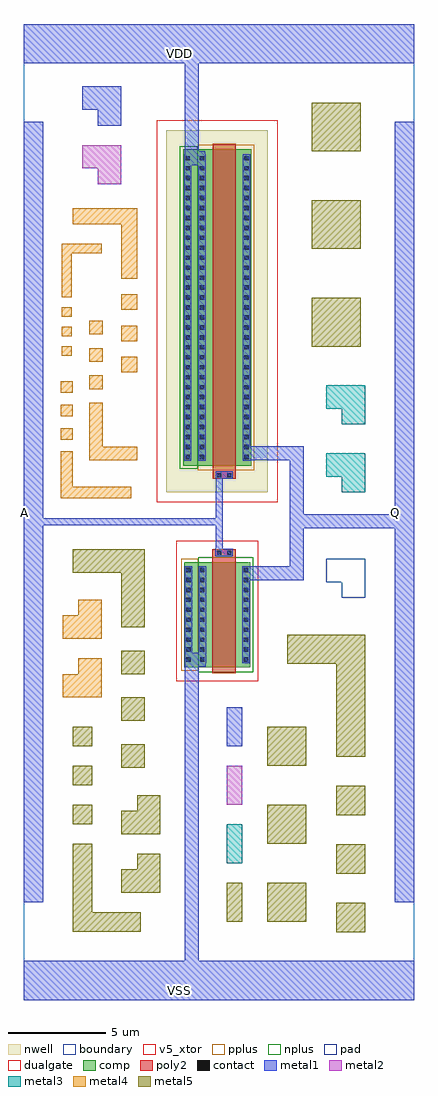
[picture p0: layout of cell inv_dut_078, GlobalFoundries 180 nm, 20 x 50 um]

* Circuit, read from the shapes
.subckt inv_dut_078 A Q VDD VSS
XM1 Q A VSS VSS nfet_05v0 w=5.4u l=1.2u
XM2 Q A VDD VDD pfet_05v0 w=16.2u l=1.2u
.ends

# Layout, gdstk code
from math import pi, radians
import gdstk
lib = gdstk.Library(unit=1e-6, precision=1e-09)
def R(c, l, rs):  # rectangles x0, y0, x1, y1
    for r in rs: c.add(gdstk.rectangle(r[:2], r[2:], *l))
def A(c, l, x, y, w, h, nx, ny, dx, dy):  # array of equal rectangles
    R(c, l, [(x+i*dx, y+j*dy, x+i*dx+w, y+j*dy+h) for i in range(nx) for j in range(ny)])
boundary = (0, 0)
nwell = (21, 0)
comp = (22, 0)
poly2 = (30, 0)
pplus = (31, 0)
nplus = (32, 0)
contact = (33, 0)
metal1 = (34, 0)
metal2 = (36, 0)
pad = (37, 0)
metal3 = (42, 0)
metal4 = (46, 0)
dualgate = (55, 0)
metal5 = (81, 0)
v5_xtor = (112, 1)

pfet = lib.new_cell('pfet')
R(pfet, nwell, [(-1.32,-0.99,3.87,17.57)])
R(pfet, comp, [(-0.46,0,3.01,16.2)])
R(pfet, poly2, [(0.31,-0.3,1.51,16.88)])
R(pfet, pplus, [(-0.63,-0.24,2.28,16.44)])
R(pfet, nplus, [(2.28,-0.17,3.18,16.37)])
A(pfet, contact, -0.34, 0.34, 0.22, 0.22, 1, 31, 0, 0.51)
A(pfet, contact, 1.94, 0.34, 0.22, 0.22, 1, 31, 0, 0.51)
A(pfet, contact, 2.67, 0.34, 0.22, 0.22, 1, 31, 0, 0.51)
R(pfet, contact, [(0.545,16.58,0.765,16.8), (1.055,16.58,1.275,16.8)])
R(pfet, metal1, [(-0.42,0.26,-0.04,15.94), (1.86,0.26,2.24,15.94), (2.59,0.26,2.97,15.94), (0.465,16.5,1.355,16.88)])
R(pfet, dualgate, [(-1.82,-1.49,4.37,18.07)])
R(pfet, v5_xtor, [(-1.82,-1.49,4.37,18.07)])

nfet = lib.new_cell('nfet')
R(nfet, comp, [(-0.42,0,2.95,5.4)])
R(nfet, poly2, [(0.31,-0.3,1.51,6.06)])
R(nfet, pplus, [(2.24,-0.17,3.12,5.57)])
R(nfet, nplus, [(-0.59,-0.24,2.24,5.64)])
A(nfet, contact, -0.32, 0.295, 0.22, 0.22, 1, 10, 0, 0.51)
A(nfet, contact, 1.92, 0.295, 0.22, 0.22, 1, 10, 0, 0.51)
A(nfet, contact, 2.63, 0.295, 0.22, 0.22, 1, 10, 0, 0.51)
R(nfet, contact, [(0.545,5.77,0.765,5.99), (1.055,5.77,1.275,5.99)])
R(nfet, metal1, [(-0.4,0.215,-0.02,5.185), (1.84,0.215,2.22,5.185), (2.55,0.215,2.93,5.185), (0.465,5.69,1.355,6.07)])
R(nfet, dualgate, [(-0.84,-0.71,3.37,6.48)])
R(nfet, v5_xtor, [(-0.84,-0.71,3.37,6.48)])

inv_dut_078 = lib.new_cell('inv_dut_078')
R(inv_dut_078, boundary, [(-10,-25,10,25)])
R(inv_dut_078, metal1, [(-10,-25,10,-23), (-10,-20,-9,20), (9,-20,10,20), (-10,23,10,25)])
inv_dut_078.add(gdstk.FlexPath([(0.8,-10),(0.8,-12)], 0.8, ends="flush", simple_path=True, layer=34, datatype=0))  # metal1
inv_dut_078.add(gdstk.FlexPath([(-7,21.2),(-5.6,21.2),(-5.6,19.8)], 1.2, ends="flush", simple_path=True, layer=34, datatype=0))  # metal1
inv_dut_078.add(gdstk.FlexPath([(-0.7,18.12),(-1.4,18.12),(-1.4,23.4)], 0.72, ends="flush", simple_path=True, layer=34, datatype=0))  # metal1
inv_dut_078.add(gdstk.FlexPath([(-0.68,-7.56),(-1.4,-7.56),(-1.4,-23.56)], 0.72, ends="flush", simple_path=True, layer=34, datatype=0))  # metal1
inv_dut_078.add(gdstk.FlexPath([(1.22,3),(3.985,3),(3.985,-3.14),(1.21,-3.14)], 0.72, ends="flush", simple_path=True, layer=34, datatype=0))  # metal1
inv_dut_078.add(gdstk.FlexPath([(4,-0.48),(9.455,-0.48)], 0.72, ends="flush", simple_path=True, layer=34, datatype=0))  # metal1
inv_dut_078.add(gdstk.FlexPath([(0.7,1.885),(0.015,1.885),(0.015,-2.09),(0.7,-2.09)], 0.36, ends="flush", simple_path=True, layer=34, datatype=0))  # metal1
inv_dut_078.add(gdstk.FlexPath([(0.015,-0.495),(-9.305,-0.495)], 0.36, ends="flush", simple_path=True, layer=34, datatype=0))  # metal1
inv_dut_078.add(gdstk.FlexPath([(-7,18.2),(-5.6,18.2),(-5.6,16.8)], 1.2, ends="flush", simple_path=True, layer=36, datatype=0))  # metal2
inv_dut_078.add(gdstk.FlexPath([(0.8,-13),(0.8,-15)], 0.8, ends="flush", simple_path=True, layer=36, datatype=0))  # metal2
inv_dut_078.add(gdstk.FlexPath([(5.5,2.4),(6.9,2.4),(6.9,1)], 1.2, ends="flush", simple_path=True, layer=42, datatype=0))  # metal3
inv_dut_078.add(gdstk.FlexPath([(0.8,-16),(0.8,-18)], 0.8, ends="flush", simple_path=True, layer=42, datatype=0))  # metal3
inv_dut_078.add(gdstk.FlexPath([(5.5,5.9),(6.9,5.9),(6.9,4.5)], 1.2, ends="flush", simple_path=True, layer=42, datatype=0))  # metal3
inv_dut_078.add(gdstk.FlexPath([(-8,-5.9),(-6.6,-5.9),(-6.6,-4.5)], 1.2, ends="flush", simple_path=True, layer=46, datatype=0))  # metal4
inv_dut_078.add(gdstk.FlexPath([(-4.6,11.95),(-4.6,15.15),(-7.5,15.15)], 0.8, ends="flush", simple_path=True, layer=46, datatype=0))  # metal4
inv_dut_078.add(gdstk.FlexPath([(-4.6,10.35),(-4.6,11.15)], 0.8, ends="flush", simple_path=True, layer=46, datatype=0))  # metal4
inv_dut_078.add(gdstk.FlexPath([(-4.6,8.75),(-4.6,9.55)], 0.8, ends="flush", simple_path=True, layer=46, datatype=0))  # metal4
inv_dut_078.add(gdstk.FlexPath([(-4.6,7.15),(-4.6,7.95)], 0.8, ends="flush", simple_path=True, layer=46, datatype=0))  # metal4
inv_dut_078.add(gdstk.FlexPath([(-8,-8.9),(-6.6,-8.9),(-6.6,-7.5)], 1.2, ends="flush", simple_path=True, layer=46, datatype=0))  # metal4
inv_dut_078.add(gdstk.FlexPath([(-7.8,11),(-7.8,13.5),(-6,13.5)], 0.5, ends="flush", simple_path=True, layer=46, datatype=0))  # metal4
inv_dut_078.add(gdstk.FlexPath([(-7.8,10),(-7.8,10.5)], 0.5, ends="flush", simple_path=True, layer=46, datatype=0))  # metal4
inv_dut_078.add(gdstk.FlexPath([(-7.8,9),(-7.8,9.5)], 0.5, ends="flush", simple_path=True, layer=46, datatype=0))  # metal4
inv_dut_078.add(gdstk.FlexPath([(-7.8,8),(-7.8,8.5)], 0.5, ends="flush", simple_path=True, layer=46, datatype=0))  # metal4
inv_dut_078.add(gdstk.FlexPath([(-7.8,6.1),(-7.8,6.7)], 0.6, ends="flush", simple_path=True, layer=46, datatype=0))  # metal4
inv_dut_078.add(gdstk.FlexPath([(-7.8,4.9),(-7.8,5.5)], 0.6, ends="flush", simple_path=True, layer=46, datatype=0))  # metal4
inv_dut_078.add(gdstk.FlexPath([(-7.8,3.7),(-7.8,4.3)], 0.6, ends="flush", simple_path=True, layer=46, datatype=0))  # metal4
inv_dut_078.add(gdstk.FlexPath([(-4.5,1),(-7.8,1),(-7.8,3.1)], 0.6, ends="flush", simple_path=True, layer=46, datatype=0))  # metal4
inv_dut_078.add(gdstk.FlexPath([(-6.3,9.1),(-6.3,9.8)], 0.7, ends="flush", simple_path=True, layer=46, datatype=0))  # metal4
inv_dut_078.add(gdstk.FlexPath([(-6.3,7.7),(-6.3,8.4)], 0.7, ends="flush", simple_path=True, layer=46, datatype=0))  # metal4
inv_dut_078.add(gdstk.FlexPath([(-6.3,6.3),(-6.3,7)], 0.7, ends="flush", simple_path=True, layer=46, datatype=0))  # metal4
inv_dut_078.add(gdstk.FlexPath([(-4.2,3),(-6.3,3),(-6.3,5.6)], 0.7, ends="flush", simple_path=True, layer=46, datatype=0))  # metal4
inv_dut_078.add(gdstk.FlexPath([(-5,-15.9),(-3.6,-15.9),(-3.6,-14.5)], 1.2, ends="flush", simple_path=True, layer=81, datatype=0))  # metal5
inv_dut_078.add(gdstk.FlexPath([(3.47,-11),(3.47,-13)], 2, ends="flush", simple_path=True, layer=81, datatype=0))  # metal5
inv_dut_078.add(gdstk.FlexPath([(3.47,-15),(3.47,-17)], 2, ends="flush", simple_path=True, layer=81, datatype=0))  # metal5
inv_dut_078.add(gdstk.FlexPath([(3.47,-19),(3.47,-21)], 2, ends="flush", simple_path=True, layer=81, datatype=0))  # metal5
inv_dut_078.add(gdstk.FlexPath([(0.8,-19),(0.8,-21)], 0.8, ends="flush", simple_path=True, layer=81, datatype=0))  # metal5
inv_dut_078.add(gdstk.FlexPath([(3.5,-7.03),(6.75,-7.03),(6.75,-12.53)], 1.5, ends="flush", simple_path=True, layer=81, datatype=0))  # metal5
inv_dut_078.add(gdstk.FlexPath([(-7.5,-2.5),(-4.4,-2.5),(-4.4,-5.9)], 1.2, ends="flush", simple_path=True, layer=81, datatype=0))  # metal5
inv_dut_078.add(gdstk.FlexPath([(-4.4,-7.1),(-4.4,-8.3)], 1.2, ends="flush", simple_path=True, layer=81, datatype=0))  # metal5
inv_dut_078.add(gdstk.FlexPath([(-4.4,-9.5),(-4.4,-10.7)], 1.2, ends="flush", simple_path=True, layer=81, datatype=0))  # metal5
inv_dut_078.add(gdstk.FlexPath([(-4.4,-11.9),(-4.4,-13.1)], 1.2, ends="flush", simple_path=True, layer=81, datatype=0))  # metal5
inv_dut_078.add(gdstk.FlexPath([(6.75,-14.03),(6.75,-15.53)], 1.5, ends="flush", simple_path=True, layer=81, datatype=0))  # metal5
inv_dut_078.add(gdstk.FlexPath([(6.75,-17.03),(6.75,-18.53)], 1.5, ends="flush", simple_path=True, layer=81, datatype=0))  # metal5
inv_dut_078.add(gdstk.FlexPath([(6.75,-20.03),(6.75,-21.53)], 1.5, ends="flush", simple_path=True, layer=81, datatype=0))  # metal5
inv_dut_078.add(gdstk.FlexPath([(-7,-11),(-7,-12)], 1, ends="flush", simple_path=True, layer=81, datatype=0))  # metal5
inv_dut_078.add(gdstk.FlexPath([(-7,-13),(-7,-14)], 1, ends="flush", simple_path=True, layer=81, datatype=0))  # metal5
inv_dut_078.add(gdstk.FlexPath([(-7,-15),(-7,-16)], 1, ends="flush", simple_path=True, layer=81, datatype=0))  # metal5
inv_dut_078.add(gdstk.FlexPath([(-7,-17),(-7,-21),(-4,-21)], 1, ends="flush", simple_path=True, layer=81, datatype=0))  # metal5
inv_dut_078.add(gdstk.FlexPath([(-5,-18.9),(-3.6,-18.9),(-3.6,-17.5)], 1.2, ends="flush", simple_path=True, layer=81, datatype=0))  # metal5
inv_dut_078.add(gdstk.FlexPath([(6,20.975),(6,18.475)], 2.5, ends="flush", simple_path=True, layer=81, datatype=0))  # metal5
inv_dut_078.add(gdstk.FlexPath([(6,10.975),(6,8.475)], 2.5, ends="flush", simple_path=True, layer=81, datatype=0))  # metal5
inv_dut_078.add(gdstk.FlexPath([(6,15.975),(6,13.475)], 2.5, ends="flush", simple_path=True, layer=81, datatype=0))  # metal5
inv_dut_078.add(gdstk.FlexPath([(-7,-11),(-7,-12)], 1, ends="flush", simple_path=True, layer=37, datatype=0))  # pad
inv_dut_078.add(gdstk.FlexPath([(-4.4,-11.9),(-4.4,-13.1)], 1.2, ends="flush", simple_path=True, layer=37, datatype=0))  # pad
inv_dut_078.add(gdstk.FlexPath([(3.47,-11),(3.47,-13)], 2, ends="flush", simple_path=True, layer=37, datatype=0))  # pad
inv_dut_078.add(gdstk.FlexPath([(6.75,-20.03),(6.75,-21.53)], 1.5, ends="flush", simple_path=True, layer=37, datatype=0))  # pad
inv_dut_078.add(gdstk.FlexPath([(-5,-15.9),(-3.6,-15.9),(-3.6,-14.5)], 1.2, ends="flush", simple_path=True, layer=37, datatype=0))  # pad
inv_dut_078.add(gdstk.FlexPath([(-8,-5.9),(-6.6,-5.9),(-6.6,-4.5)], 1.2, ends="flush", simple_path=True, layer=37, datatype=0))  # pad
inv_dut_078.add(gdstk.FlexPath([(5.5,-3),(6.9,-3),(6.9,-4.4)], 1.2, ends="flush", simple_path=True, layer=37, datatype=0))  # pad
inv_dut_078.add(gdstk.FlexPath([(5.5,5.9),(6.9,5.9),(6.9,4.5)], 1.2, ends="flush", simple_path=True, layer=37, datatype=0))  # pad
inv_dut_078.add(gdstk.FlexPath([(6,20.975),(6,18.475)], 2.5, ends="flush", simple_path=True, layer=37, datatype=0))  # pad
inv_dut_078.add(gdstk.Reference(pfet, (1.18,18.575), rotation=pi))
inv_dut_078.add(gdstk.Reference(nfet, (1.175,-7.965), rotation=pi, x_reflection=True))
inv_dut_078.add(gdstk.Label('VDD', (-2,23.5), layer=34, texttype=10))
inv_dut_078.add(gdstk.Label('VSS', (-2,-24.5), layer=34, texttype=10))
inv_dut_078.add(gdstk.Label('A', (-9.97,0), layer=34, texttype=10))
inv_dut_078.add(gdstk.Label('Q', (9.03,0), layer=34, texttype=10))

lib.write_gds('inv_dut_078.gds')
